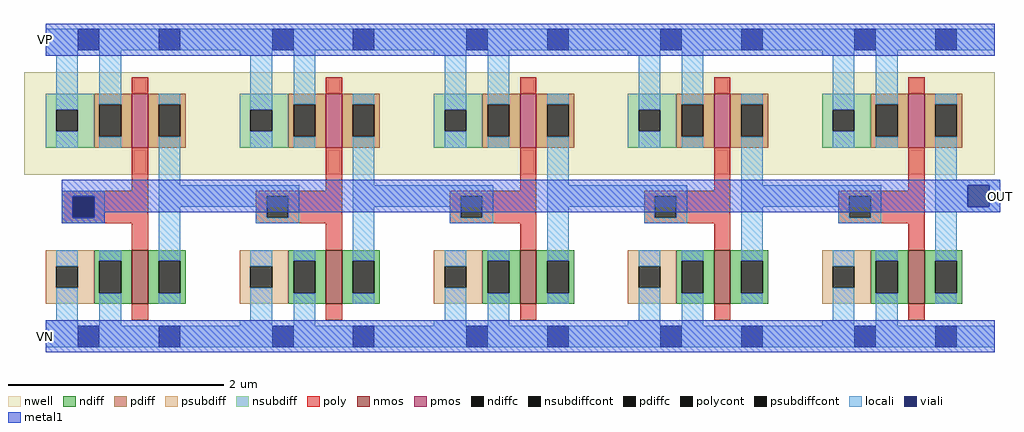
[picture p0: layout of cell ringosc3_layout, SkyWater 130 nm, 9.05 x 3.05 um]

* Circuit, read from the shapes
.subckt ringosc3_layout OUT VN VP
XM1 inverter1_1/A OUT VN VN sky130_fd_pr__nfet_01v8 w=0.5 l=0.15
XM2 inverter1_2/A inverter1_1/A VN VN sky130_fd_pr__nfet_01v8 w=0.5 l=0.15
XM3 inverter1_3/A inverter1_2/A VN VN sky130_fd_pr__nfet_01v8 w=0.5 l=0.15
XM4 inverter1_4/A inverter1_3/A VN VN sky130_fd_pr__nfet_01v8 w=0.5 l=0.15
XM5 OUT inverter1_4/A VN VN sky130_fd_pr__nfet_01v8 w=0.5 l=0.15
XM6 inverter1_1/A OUT VP VP sky130_fd_pr__pfet_01v8 w=0.5 l=0.15
XM7 inverter1_2/A inverter1_1/A VP VP sky130_fd_pr__pfet_01v8 w=0.5 l=0.15
XM8 inverter1_3/A inverter1_2/A VP VP sky130_fd_pr__pfet_01v8 w=0.5 l=0.15
XM9 inverter1_4/A inverter1_3/A VP VP sky130_fd_pr__pfet_01v8 w=0.5 l=0.15
XM10 OUT inverter1_4/A VP VP sky130_fd_pr__pfet_01v8 w=0.5 l=0.15
.ends

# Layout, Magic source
magic
tech sky130A
<< nwell >>
rect 0 165 900 260
<< locali >>
rect 20 280 900 300
rect 865 155 905 160
rect 175 135 255 155
rect 355 135 435 155
rect 535 135 615 155
rect 715 135 795 155
rect 865 135 875 155
rect 895 135 905 155
rect 865 130 905 135
rect 20 5 900 25
<< viali >>
rect 45 125 65 145
rect 875 135 895 155
<< metal1 >>
rect 20 275 900 305
rect 35 155 905 160
rect 35 145 875 155
rect 35 125 45 145
rect 65 135 875 145
rect 895 135 905 155
rect 65 130 905 135
rect 65 125 75 130
rect 35 120 75 125
rect 20 25 740 30
rect 750 25 900 30
rect 20 0 900 25
use inverter1  inverter1_0 ~/gits/dsrt_2024
transform 1 0 100 0 1 45
box -100 -45 80 260
use inverter1  inverter1_1
transform 1 0 280 0 1 45
box -100 -45 80 260
use inverter1  inverter1_2
transform 1 0 460 0 1 45
box -100 -45 80 260
use inverter1  inverter1_3
transform 1 0 640 0 1 45
box -100 -45 80 260
use inverter1  inverter1_4
transform 1 0 820 0 1 45
box -100 -45 80 260
<< labels >>
rlabel metal1 905 145 905 145 3 OUT
rlabel metal1 20 290 20 290 7 VP
rlabel metal1 20 15 20 15 7 VN
<< end >>

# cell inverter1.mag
magic
tech sky130A
<< nwell >>
rect -100 120 70 215
<< nmos >>
rect 0 0 15 50
<< pmos >>
rect 0 145 15 195
<< ndiff >>
rect -35 40 0 50
rect -35 10 -30 40
rect -10 10 0 40
rect -35 0 0 10
rect 15 40 50 50
rect 15 10 25 40
rect 45 10 50 40
rect 15 0 50 10
<< pdiff >>
rect -35 185 0 195
rect -35 155 -30 185
rect -10 155 0 185
rect -35 145 0 155
rect 15 185 50 195
rect 15 155 25 185
rect 45 155 50 185
rect 15 145 50 155
<< ndiffc >>
rect -30 10 -10 40
rect 25 10 45 40
<< pdiffc >>
rect -30 155 -10 185
rect 25 155 45 185
<< psubdiff >>
rect -80 35 -35 50
rect -80 15 -70 35
rect -50 15 -35 35
rect -80 0 -35 15
<< nsubdiff >>
rect -80 180 -35 195
rect -80 160 -70 180
rect -50 160 -35 180
rect -80 145 -35 160
<< psubdiffcont >>
rect -70 15 -50 35
<< nsubdiffcont >>
rect -70 160 -50 180
<< poly >>
rect 0 195 15 210
rect 0 105 15 145
rect -65 100 15 105
rect -65 80 -55 100
rect -35 80 15 100
rect -65 75 15 80
rect 0 50 15 75
rect 0 -15 15 0
<< polycont >>
rect -55 80 -35 100
<< locali >>
rect -80 230 -50 255
rect -30 235 25 255
rect 45 235 80 255
rect -70 180 -50 230
rect -70 145 -50 160
rect -30 185 -10 235
rect -30 145 -10 155
rect 25 185 45 195
rect 25 110 45 155
rect -65 100 -25 105
rect -65 80 -55 100
rect -35 80 -25 100
rect -65 75 -25 80
rect 25 90 75 110
rect -70 35 -50 50
rect -70 -15 -50 15
rect -80 -40 -50 -15
rect -30 40 -10 50
rect -30 -20 -10 10
rect 25 40 45 90
rect 25 0 45 10
rect -30 -40 25 -20
rect 45 -40 80 -20
<< viali >>
rect -50 235 -30 255
rect 25 235 45 255
rect -50 -40 -30 -20
rect 25 -40 45 -20
<< metal1 >>
rect -80 255 80 260
rect -80 235 -50 255
rect -30 235 25 255
rect 45 235 80 255
rect -80 230 80 235
rect -80 -20 80 -15
rect -80 -40 -50 -20
rect -30 -40 25 -20
rect 45 -40 80 -20
rect -80 -45 80 -40
<< labels >>
rlabel metal1 -80 245 -80 245 7 VP
rlabel poly -65 90 -65 90 7 A
rlabel locali 75 100 75 100 3 Y
rlabel metal1 -80 -30 -80 -30 7 VN
<< end >>
